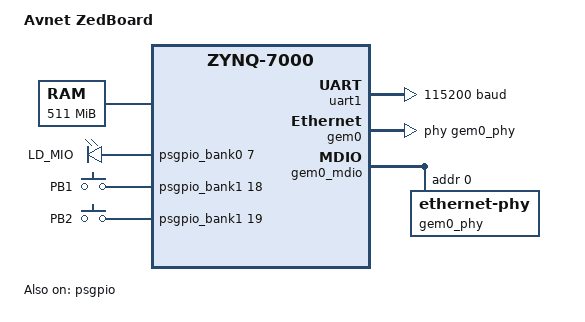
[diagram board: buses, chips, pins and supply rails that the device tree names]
/*
 * Copyright (c) 2026 Analog Devices, Inc.
 *
 * SPDX-License-Identifier: Apache-2.0
 */

/dts-v1/;
#include <xilinx/zynq7000.dtsi>
#include <zephyr/dt-bindings/gpio/gpio.h>
#include <zephyr/dt-bindings/input/input-event-codes.h>
#include "zedboard-pinctrl.dtsi"

/ {
	model = "Avnet ZedBoard";
	compatible = "avnet,zedboard", "xlnx,zynq-7000";

	#address-cells = <1>;
	#size-cells = <1>;

	chosen {
		zephyr,sram = &sram0;
		zephyr,console = &uart1;
		zephyr,shell-uart = &uart1;
		zephyr,ocm = &ocm_high;
	};

	aliases {
		led0 = &ld_mio;
		sw0 = &pb1;
		sw1 = &pb2;
	};

	cpus {
		#address-cells = <1>;
		#size-cells = <0>;

		cpu0: cpu@0 {
			device_type = "cpu";
			compatible = "arm,cortex-a9";
			reg = <0>;
		};

		cpu1: cpu@1 {
			device_type = "cpu";
			compatible = "arm,cortex-a9";
			reg = <1>;
		};
	};

	/*
	 * 512 MB DDR3. Reserve the low 1 MB so Zephyr does not overlap memory
	 * still in use by U-Boot (relocated code/heap and leftover GEM DMA
	 * descriptors); loading Zephyr at 0x0 was observed to corrupt GEM DMA
	 * when booting via U-Boot. The vector table at 0x0 lives within this
	 * reserved region. 1 MB is a conservative margin, not a hard minimum.
	 */
	sram0: memory@100000 {
		compatible = "mmio-sram";
		reg = <0x00100000 DT_SIZE_M(511)>;
	};

	leds {
		compatible = "gpio-leds";

		ld_mio: led_mio {
			gpios = <&psgpio_bank0 7 GPIO_ACTIVE_HIGH>;
			label = "LD_MIO";
		};
	};

	gpio_keys {
		compatible = "gpio-keys";

		pb1: pb1 {
			gpios = <&psgpio_bank1 18 GPIO_ACTIVE_HIGH>;
			label = "PB1";
			zephyr,code = <INPUT_KEY_0>;
		};

		pb2: pb2 {
			gpios = <&psgpio_bank1 19 GPIO_ACTIVE_HIGH>;
			label = "PB2";
			zephyr,code = <INPUT_KEY_1>;
		};
	};
};

/* The GTC is clocked at 1/2 of the CPU frequency (CPU_3x2x) */
&arch_timer {
	clock-frequency = <333333333>;
};

&uart1 {
	status = "okay";
	current-speed = <115200>;
	clock-frequency = <50000000>;
	pinctrl-0 = <&pinctrl_uart1_default>;
	pinctrl-names = "default";
};

&psgpio {
	status = "okay";
};

&gem0 {
	status = "okay";
	phy-handle = <&gem0_phy>;
	clock-frequency = <1000000000>;
	local-mac-address = [00 00 00 01 02 03];
};

&gem0_mdio {
	status = "okay";

	gem0_phy: phy@0 {
		compatible = "ethernet-phy";
		reg = <0>;
		status = "okay";
	};
};
